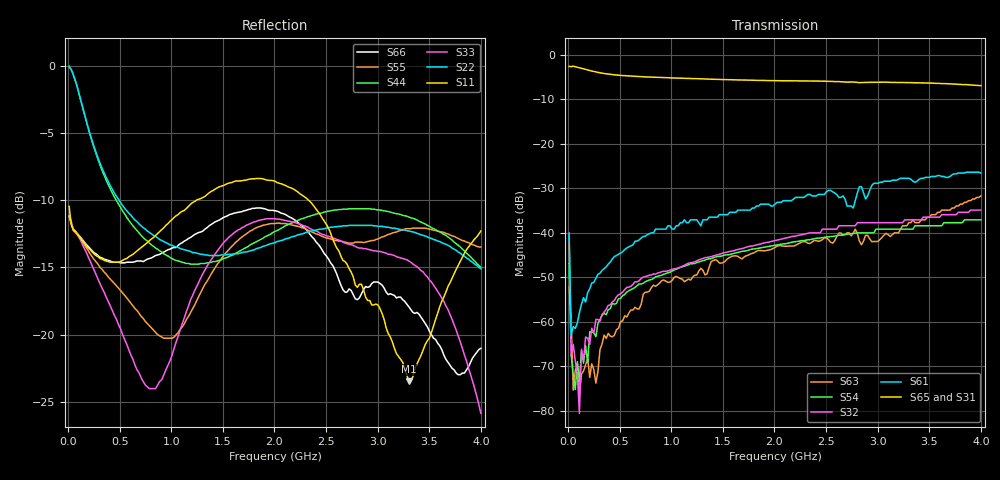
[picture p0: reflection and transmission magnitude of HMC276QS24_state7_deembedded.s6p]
! Hittite Microwave Corporation
! 20 Alpha Road
! Chelmsford, MA 01824
! Tel: 978-250-3343
! Fax: 978-250-3373
! Device: HMC276QS24, 0.7-3.0 GHz, GaAS MMIC 4x2 Switch Matrix in 24-lead QSOP package
! Misc: Data was de-embedded to package pins.
!  Port 1 = OP1
!  Port 2 = VL
!  Port 3 = VH
!  Port 4 = HH
!  Port 5 = HL
!  Port 6 = OP2
!  Vdd = +5 V
!  Vctl = 0 V[Logic 0] / +5 V[Logic 1]
!  State 07,  VH to OP1,  HL to OP2
!  Control Lines (Logic)
!  HV 1 = 0, Tone 1 = 1
!  HV 2 = 1, Tone 2 = 0
!  Data reformated to new Touchstone file format - Wed Jan 10 15:15:55 2007
# MHz S DB R 50
! 6 Port Network Data
! freq  dbS11  angS11  dbS12  angS12  dbS13  angS13  dbS14  angS14
!  dbS15  angS15  dbS16  angS16
!  dbS21  angS21  dbS22  angS22
!  dbS23  angS23  dbS24  angS24  dbS25  angS25  dbS26  angS26
!  dbS31  angS31  dbS32  angS32  dbS33  angS33  dbS34  angS34
!  dbS35  angS35  dbS36  angS36
!  dbS41  angS41  dbS42  angS42
!  dbS43  angS43  dbS44  angS44  dbS45  angS45  dbS46  angS46
!  dbS51  angS51  dbS52  angS52  dbS53  angS53  dbS54  angS54
!  dbS55  angS55  dbS56  angS56
!  dbS61  angS61  dbS62  angS62
!  dbS63  angS63  dbS64  angS64  dbS65  angS65  dbS66  angS66
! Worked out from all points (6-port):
!   201 points, 10 MHz to 4 GHz, reference 50 ohm
!   strongest paths, dB at 10 MHz, 1.008 GHz, 2.005 GHz, 3.002 GHz, 4 GHz:
!     S65: -2.6, -5.2, -5.8, -6.2, -6.9
!     S31: -2.7, -5.4, -6.1, -6.1, -7.0
!     S61: -40.2, -39.2, -33.6, -28.9, -26.6
!     S32: -40.0, -48.3, -41.7, -37.7, -34.9
!     S54: -46.9, -48.6, -42.8, -39.2, -37.1
!     S63: -52.1, -50.7, -43.3, -41.9, -31.7
!   lowest |S11| = -23.5 dB at 3.302 GHz (marker M1), VSWR 1.14, Z = 56.3 + j3.35 ohm
!   |S11| at or under -10 dB: start of sweep to 1.243 GHz; 2.331 GHz to end of sweep
